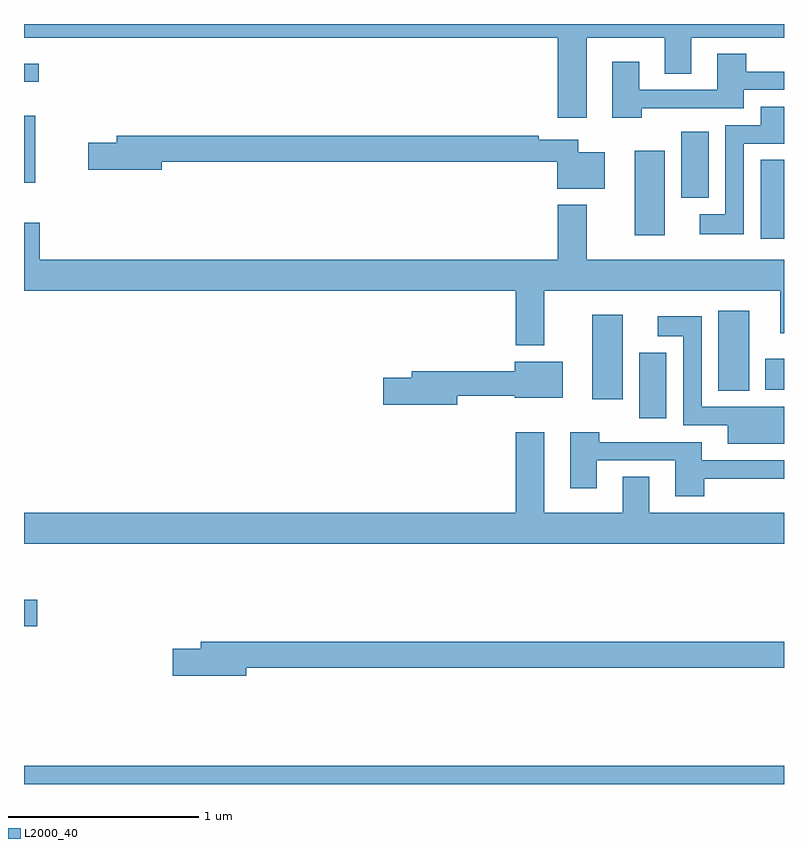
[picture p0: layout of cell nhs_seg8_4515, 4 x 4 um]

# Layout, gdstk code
import gdstk
lib = gdstk.Library(unit=1e-6, precision=1e-09)
def R(c, l, rs):  # rectangles x0, y0, x1, y1
    for r in rs: c.add(gdstk.rectangle(r[:2], r[2:], *l))
def P(c, l, *ps):  # polygons
    for p in ps: c.add(gdstk.Polygon(p, *l))
L2000_40 = (2000, 40)

nhs_seg8_4515 = lib.new_cell('nhs_seg8_4515')
R(nhs_seg8_4515, L2000_40, [(385,1117.9,389,1117.996), (385,1118.729,385.069,1118.871), (388.238,1119.825,388.381,1120.171), (387.992,1119.924,388.15,1120.369), (388.655,1119.971,388.816,1120.39), (388.901,1119.974,389,1120.138), (388.877,1120.77,389,1121.185), (388.214,1120.788,388.372,1121.233), (388.46,1120.985,388.603,1121.332), (385,1121.064,385.06,1121.416), (385,1121.595,385.078,1121.692)])
P(nhs_seg8_4515, L2000_40, [(387.961,1121.828),(388.373,1121.828),(388.373,1121.638),(388.513,1121.638),(388.513,1121.828),(389,1121.828),(389,1121.9),(385,1121.9),(385,1121.828),(387.809,1121.828),(387.809,1121.406),(387.961,1121.406)],
  [(388.25,1121.457),(388.789,1121.457),(388.789,1121.553),(389,1121.553),(389,1121.65),(388.802,1121.65),(388.802,1121.743),(388.649,1121.743),(388.649,1121.553),(388.237,1121.553),(388.237,1121.701),(388.097,1121.701),(388.097,1121.406),(388.25,1121.406)],
  [(388.788,1121.271),(389,1121.271),(389,1121.464),(388.877,1121.464),(388.877,1121.367),(388.692,1121.367),(388.692,1120.9),(388.557,1120.9),(388.557,1120.793),(388.788,1120.793)],
  [(388.057,1121.224),(387.916,1121.224),(387.916,1121.292),(387.71,1121.292),(387.71,1121.312),(385.487,1121.312),(385.487,1121.276),(385.338,1121.276),(385.338,1121.134),(385.726,1121.134),(385.726,1121.176),(387.806,1121.176),(387.806,1121.033),(388.057,1121.033)],
  [(387.739,1120.496),(388.979,1120.496),(388.979,1120.272),(389,1120.272),(389,1120.66),(387.961,1120.66),(387.961,1120.948),(387.809,1120.948),(387.809,1120.66),(385.082,1120.66),(385.082,1120.855),(385,1120.855),(385,1120.496),(387.587,1120.496),(387.587,1120.208),(387.739,1120.208)],
  [(389,1119.886),(388.812,1119.886),(388.812,1119.885),(388.566,1119.885),(388.566,1120.363),(388.335,1120.363),(388.335,1120.256),(388.47,1120.256),(388.47,1119.789),(388.703,1119.789),(388.703,1119.692),(389,1119.692)],
  [(387.28,1119.943),(387.584,1119.943),(387.584,1119.932),(387.835,1119.932),(387.835,1120.123),(387.584,1120.123),(387.584,1120.072),(387.041,1120.072),(387.041,1120.038),(386.892,1120.038),(386.892,1119.896),(387.28,1119.896)],
  [(388.58,1119.506),(389,1119.506),(389,1119.603),(388.567,1119.603),(388.567,1119.699),(388.028,1119.699),(388.028,1119.751),(387.875,1119.751),(387.875,1119.456),(388.015,1119.456),(388.015,1119.603),(388.427,1119.603),(388.427,1119.414),(388.58,1119.414)],
  [(389,1119.328),(388.291,1119.328),(388.291,1119.518),(388.151,1119.518),(388.151,1119.328),(387.739,1119.328),(387.739,1119.751),(387.587,1119.751),(387.587,1119.328),(385,1119.328),(385,1119.164),(389,1119.164)],
  [(386.17,1118.512),(389,1118.512),(389,1118.648),(385.931,1118.648),(385.931,1118.612),(385.782,1118.612),(385.782,1118.47),(386.17,1118.47)])

lib.write_gds('nhs_seg8_4515.gds')
